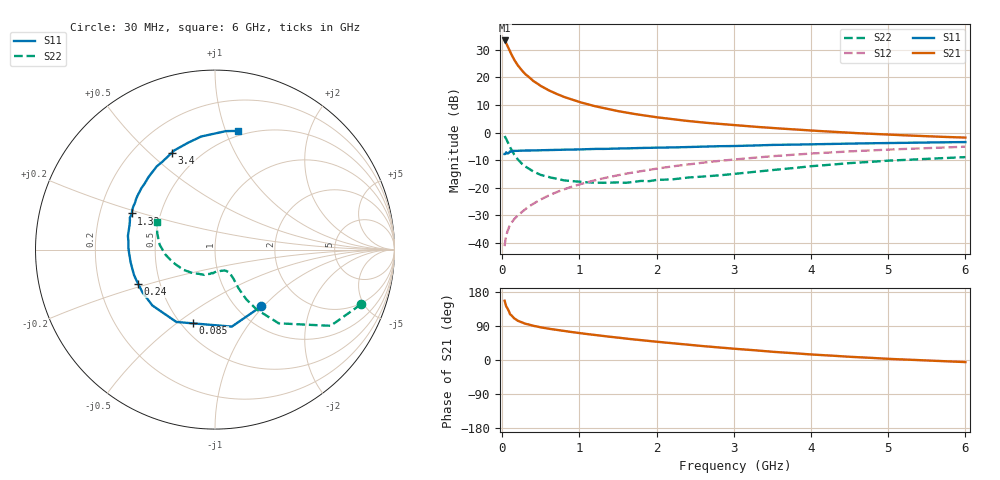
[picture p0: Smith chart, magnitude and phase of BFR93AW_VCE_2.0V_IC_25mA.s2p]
! Infineon Technologies  Discrete & RF Semiconductors
! BFR93AW
! VCE =  2.0 V,  IC =  25 mA
! Common Emitter S-Parameters:  Nov 2015
# GHz  S  MA  R  50
!  f  S11  S21  S12  S22
! GHz  MAG  ANG  MAG  ANG  MAG  ANG  MAG  ANG
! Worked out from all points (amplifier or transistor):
!   206 points, 30 MHz to 6 GHz, reference 50 ohm
!   highest |S21| = 33.4 dB at 30 MHz (marker M1)
!   |S21| within 3 dB of that: start of sweep to 82.26 MHz
!   unconditionally stable (mu >= 1): 466 MHz to 2.363 GHz
!   at 200 MHz: K = 0.78, MSG = 27.3 dB, |S12| = -30.1 dB
!   at 1.56 GHz: K = 1.05, MAG = 10.0 dB, |S12| = -15.1 dB
!   at 6 GHz: K = 0.94, MSG = 1.7 dB, |S12| = -5.1 dB
!   S11 on the Smith chart (normalised r, x): 30 MHz: 1.28, -0.97; 85 MHz: 0.57, -0.58; 240 MHz: 0.38, -0.18; 1.32 GHz: 0.34, +0.18; 3.4 GHz: 0.36, +0.59; 6 GHz: 0.46, +1.10
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0.03  0.408 -50.8  46.95 156.4  0.0087 70.8  0.8682 -20.6
0.05  0.4392 -77.7  42.01 141.6  0.0136 65.7  0.7722 -33.3
0.085  0.4288 -106.6  32.57 128.8  0.0189 60.9  0.6063 -43.2
0.1  0.457 -118.1  29.24 121.0  0.0212 59.5  0.5431 -49.2
0.15  0.4675 -138.2  21.33 110.3  0.0265 59.9  0.4059 -55.2
0.2  0.4693 -149.3  16.67 103.6  0.0311 60.9  0.3271 -57.8
0.24  0.4687 -155.9  14.17 100.2  0.0349 62.5  0.2845 -58.3
0.26  0.4699 -158.6  13.13 98.5  0.0368 63.3  0.2674 -58.5
0.3  0.4731 -162.8  11.44 95.6  0.041 64.7  0.2418 -58.6
0.4  0.4752 -171.2  8.67 90.3  0.051 68.3  0.197 -57.6
0.5  0.4786 -177.1  6.999 86.0  0.0613 68.7  0.1704 -57.7
0.6  0.4827 178.6  5.864 82.6  0.0719 70.1  0.1558 -57.8
0.7  0.4849 174.5  5.062 79.4  0.0826 70.2  0.1459 -59.0
0.8  0.4913 171.0  4.438 76.4  0.0935 70.5  0.1358 -61.8
1.04  0.4964 163.3  3.46 70.0  0.119 69.8  0.127 -67.2
1.32  0.5057 156.5  2.767 63.1  0.1494 68.2  0.1228 -75.8
2.02  0.5338 140.3  1.884 47.7  0.2235 62.5  0.1388 -102.6
3.1  0.5748 119.2  1.331 28.3  0.3341 51.7  0.1835 -135.5
3.4  0.591 114.0  1.239 23.5  0.3632 48.5  0.2026 -145.0
4.1  0.6172 102.7  1.07 13.5  0.4244 40.6  0.2513 -165.8
5.1  0.6485 89.5  0.907 2.3  0.4979 29.6  0.3137 172.6
6  0.673 79.2  0.812 -5.5  0.555 20.5  0.3592 154.7
